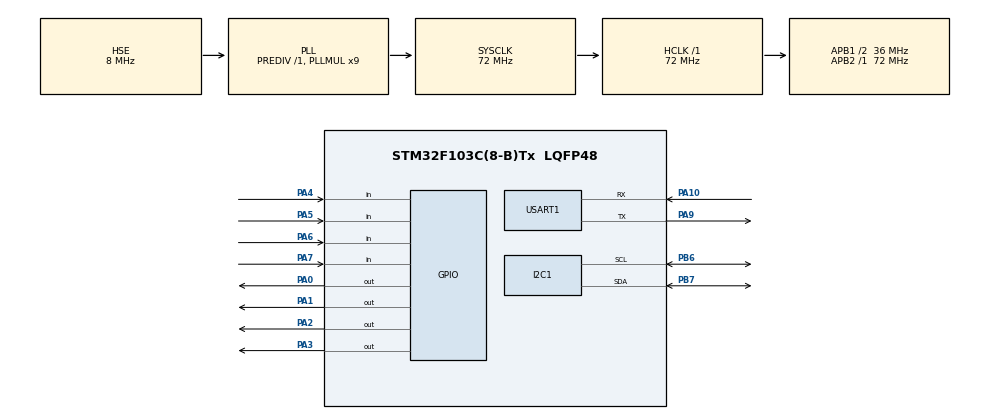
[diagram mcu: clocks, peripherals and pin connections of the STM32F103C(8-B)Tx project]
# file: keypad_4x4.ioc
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Mcu.Family=STM32F1
Mcu.Name=STM32F103C(8-B)Tx
Mcu.Package=LQFP48
NVIC.PriorityGroup=NVIC_PRIORITYGROUP_4
PA0-WKUP.Signal=GPIO_Output
PA1.Signal=GPIO_Output
PA10.Mode=Asynchronous
PA10.Signal=USART1_RX
PA13.Mode=Serial_Wire
PA13.Signal=SYS_JTMS-SWDIO
PA14.Mode=Serial_Wire
PA14.Signal=SYS_JTCK-SWCLK
PA2.Signal=GPIO_Output
PA3.Signal=GPIO_Output
PA4.GPIO_PuPd=GPIO_PULLUP
PA4.Signal=GPIO_Input
PA5.GPIO_PuPd=GPIO_PULLUP
PA5.Signal=GPIO_Input
PA6.GPIO_PuPd=GPIO_PULLUP
PA6.Signal=GPIO_Input
PA7.GPIO_PuPd=GPIO_PULLUP
PA7.Signal=GPIO_Input
PA9.Mode=Asynchronous
PA9.Signal=USART1_TX
PB6.Mode=I2C
PB6.Signal=I2C1_SCL
PB7.Mode=I2C
PB7.Signal=I2C1_SDA
PD0-OSC_IN.Mode=HSE-External-Oscillator
PD0-OSC_IN.Signal=RCC_OSC_IN
PD1-OSC_OUT.Mode=HSE-External-Oscillator
PD1-OSC_OUT.Signal=RCC_OSC_OUT
ProjectManager.HeapSize=0x200
ProjectManager.StackSize=0x400
ProjectManager.TargetToolchain=STM32CubeIDE
RCC.AHBFreq_Value=72000000
RCC.APB1CLKDivider=RCC_HCLK_DIV2
RCC.APB1Freq_Value=36000000
RCC.APB1TimFreq_Value=72000000
RCC.APB2Freq_Value=72000000
RCC.APB2TimFreq_Value=72000000
RCC.HCLKFreq_Value=72000000
RCC.PLLMUL=RCC_PLL_MUL9
RCC.PLLSourceVirtual=RCC_PLLSOURCE_HSE
RCC.SYSCLKFreq_VALUE=72000000
RCC.SYSCLKSource=RCC_SYSCLKSOURCE_PLLCLK
RCC.USBFreq_Value=72000000
USART1.VirtualMode=VM_ASYNC
board=custom

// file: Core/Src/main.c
/* USER CODE BEGIN Header */
/**
  ******************************************************************************
  * @file           : main.c
  * @brief          : Main program body
  ******************************************************************************
  * @attention
  *
  * Copyright (c) 2026 STMicroelectronics.
  * All rights reserved.
  *
  * This software is licensed under terms that can be found in the LICENSE file
  * in the root directory of this software component.
  * If no LICENSE file comes with this software, it is provided AS-IS.
  *
  ******************************************************************************
  */
/* USER CODE END Header */
#include "main.h"

/* USER CODE BEGIN Includes */
#include <stdio.h>
#include <string.h>
/* USER CODE END Includes */

I2C_HandleTypeDef hi2c1;

UART_HandleTypeDef huart1;

/* USER CODE BEGIN PV */
// Define the 4x4 Keypad Layout
const char keymap[4][4] = {
  {'1', '2', '3', 'A'},
  {'4', '5', '6', 'B'},
  {'7', '8', '9', 'C'},
  {'*', '0', '#', 'D'}
};
/* USER CODE END PV */

void SystemClock_Config(void);
static void MX_GPIO_Init(void);
static void MX_I2C1_Init(void);
static void MX_USART1_UART_Init(void);
/* USER CODE BEGIN PFP */
char Get_Key(void); // Function to scan the keypad
/* USER CODE END PFP */

int main(void)
{

  /* MCU Configuration--------------------------------------------------------*/

  /* Reset of all peripherals, Initializes the Flash interface and the Systick. */
  HAL_Init();

  /* Configure the system clock */
  SystemClock_Config();

  /* Initialize all configured peripherals */
  MX_GPIO_Init();
  MX_I2C1_Init();
  MX_USART1_UART_Init();
  /* USER CODE BEGIN 2 */

  char key;
  char tx_buffer[30];

  // Welcome message over UART
  strcpy(tx_buffer, "Keypad Ready!\r\n");
  HAL_UART_Transmit(&huart1, (uint8_t*)tx_buffer, strlen(tx_buffer), 100);

  /* USER CODE END 2 */

  /* Infinite loop */
  while (1)
  {

    /* USER CODE BEGIN 3 */
    key = Get_Key(); // Scan the keypad

    if (key != 0) {  // If a key was pressed
        // Format the output string
        sprintf(tx_buffer, "Key Pressed: %c\r\n", key);

        // Transmit the pressed key over UART1 (115200 baud)
        HAL_UART_Transmit(&huart1, (uint8_t*)tx_buffer, strlen(tx_buffer), 100);
    }

    HAL_Delay(50); // Small loop delay
  }
  /* USER CODE END 3 */
}

void SystemClock_Config(void)
{
  RCC_OscInitTypeDef RCC_OscInitStruct = {0};
  RCC_ClkInitTypeDef RCC_ClkInitStruct = {0};

  /** Initializes the RCC Oscillators according to the specified parameters
  * in the RCC_OscInitTypeDef structure.
  */
  RCC_OscInitStruct.OscillatorType = RCC_OSCILLATORTYPE_HSE;
  RCC_OscInitStruct.HSEState = RCC_HSE_ON;
  RCC_OscInitStruct.HSEPredivValue = RCC_HSE_PREDIV_DIV1;
  RCC_OscInitStruct.HSIState = RCC_HSI_ON;
  RCC_OscInitStruct.PLL.PLLState = RCC_PLL_ON;
  RCC_OscInitStruct.PLL.PLLSource = RCC_PLLSOURCE_HSE;
  RCC_OscInitStruct.PLL.PLLMUL = RCC_PLL_MUL9;
  if (HAL_RCC_OscConfig(&RCC_OscInitStruct) != HAL_OK)
  {
    Error_Handler();
  }

  /** Initializes the CPU, AHB and APB buses clocks
  */
  RCC_ClkInitStruct.ClockType = RCC_CLOCKTYPE_HCLK|RCC_CLOCKTYPE_SYSCLK
                              |RCC_CLOCKTYPE_PCLK1|RCC_CLOCKTYPE_PCLK2;
  RCC_ClkInitStruct.SYSCLKSource = RCC_SYSCLKSOURCE_PLLCLK;
  RCC_ClkInitStruct.AHBCLKDivider = RCC_SYSCLK_DIV1;
  RCC_ClkInitStruct.APB1CLKDivider = RCC_HCLK_DIV2;
  RCC_ClkInitStruct.APB2CLKDivider = RCC_HCLK_DIV1;

  if (HAL_RCC_ClockConfig(&RCC_ClkInitStruct, FLASH_LATENCY_2) != HAL_OK)
  {
    Error_Handler();
  }
}

static void MX_I2C1_Init(void)
{

  hi2c1.Instance = I2C1;
  hi2c1.Init.ClockSpeed = 100000;
  hi2c1.Init.DutyCycle = I2C_DUTYCYCLE_2;
  hi2c1.Init.OwnAddress1 = 0;
  hi2c1.Init.AddressingMode = I2C_ADDRESSINGMODE_7BIT;
  hi2c1.Init.DualAddressMode = I2C_DUALADDRESS_DISABLE;
  hi2c1.Init.OwnAddress2 = 0;
  hi2c1.Init.GeneralCallMode = I2C_GENERALCALL_DISABLE;
  hi2c1.Init.NoStretchMode = I2C_NOSTRETCH_DISABLE;
  if (HAL_I2C_Init(&hi2c1) != HAL_OK)
  {
    Error_Handler();
  }

}

static void MX_USART1_UART_Init(void)
{

  huart1.Instance = USART1;
  huart1.Init.BaudRate = 115200;
  huart1.Init.WordLength = UART_WORDLENGTH_8B;
  huart1.Init.StopBits = UART_STOPBITS_1;
  huart1.Init.Parity = UART_PARITY_NONE;
  huart1.Init.Mode = UART_MODE_TX_RX;
  huart1.Init.HwFlowCtl = UART_HWCONTROL_NONE;
  huart1.Init.OverSampling = UART_OVERSAMPLING_16;
  if (HAL_UART_Init(&huart1) != HAL_OK)
  {
    Error_Handler();
  }

}

static void MX_GPIO_Init(void)
{
  GPIO_InitTypeDef GPIO_InitStruct = {0};

  /* GPIO Ports Clock Enable */
  __HAL_RCC_GPIOD_CLK_ENABLE();
  __HAL_RCC_GPIOA_CLK_ENABLE();
  __HAL_RCC_GPIOB_CLK_ENABLE();

  /*Configure GPIO pin Output Level */
  HAL_GPIO_WritePin(GPIOA, GPIO_PIN_0|GPIO_PIN_1|GPIO_PIN_2|GPIO_PIN_3, GPIO_PIN_RESET);

  /*Configure GPIO pins : PA0 PA1 PA2 PA3 */
  GPIO_InitStruct.Pin = GPIO_PIN_0|GPIO_PIN_1|GPIO_PIN_2|GPIO_PIN_3;
  GPIO_InitStruct.Mode = GPIO_MODE_OUTPUT_PP;
  GPIO_InitStruct.Pull = GPIO_NOPULL;
  GPIO_InitStruct.Speed = GPIO_SPEED_FREQ_LOW;
  HAL_GPIO_Init(GPIOA, &GPIO_InitStruct);

  /*Configure GPIO pins : PA4 PA5 PA6 PA7 */
  GPIO_InitStruct.Pin = GPIO_PIN_4|GPIO_PIN_5|GPIO_PIN_6|GPIO_PIN_7;
  GPIO_InitStruct.Mode = GPIO_MODE_INPUT;
  GPIO_InitStruct.Pull = GPIO_PULLUP;
  HAL_GPIO_Init(GPIOA, &GPIO_InitStruct);

}

/* USER CODE BEGIN 4 */

/**
  * @brief  Reads the 4x4 matrix keypad.
  * @retval Returns the character of the pressed key, or 0 if nothing is pressed.
  */
char Get_Key(void)
{
  uint16_t row_pins[4] = {GPIO_PIN_0, GPIO_PIN_1, GPIO_PIN_2, GPIO_PIN_3};
  uint16_t col_pins[4] = {GPIO_PIN_4, GPIO_PIN_5, GPIO_PIN_6, GPIO_PIN_7};

  for (int r = 0; r < 4; r++)
  {
    // Step 1: Set all rows HIGH
    HAL_GPIO_WritePin(GPIOA, GPIO_PIN_0|GPIO_PIN_1|GPIO_PIN_2|GPIO_PIN_3, GPIO_PIN_SET);

    // Step 2: Set current row LOW
    HAL_GPIO_WritePin(GPIOA, row_pins[r], GPIO_PIN_RESET);

    // Small delay to allow voltage levels to settle
    HAL_Delay(2);

    // Step 3: Check each column input
    for (int c = 0; c < 4; c++)
    {
      if (HAL_GPIO_ReadPin(GPIOA, col_pins[c]) == GPIO_PIN_RESET)
      {
        // Key is pressed! Wait for the user to release it (Debouncing)
        while(HAL_GPIO_ReadPin(GPIOA, col_pins[c]) == GPIO_PIN_RESET);

        return keymap[r][c]; // Return the mapped key
      }
    }
  }

  // Return 0 (null character) if no key is pressed
  return 0;
}

/* USER CODE END 4 */

void Error_Handler(void)
{
  __disable_irq();
  while (1)
  {
  }
}
